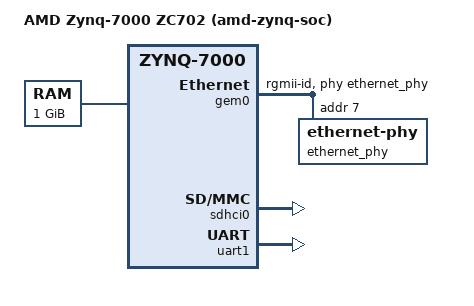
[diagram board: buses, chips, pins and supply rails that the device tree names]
// SPDX-License-Identifier: GPL-2.0+
/*
 * AMD Zynq-7000 ZC702 evaluation board
 *
 * Board description: UG850
 */

/dts-v1/;

#include "amd-xilinx-zynq.dtsi"

/ {
	model = "AMD Zynq-7000 ZC702 (amd-zynq-soc)";
	compatible = "amd,zynq-soc-zc702", "xlnx,zynq-zc702",
		     "amd,xilinx-zynq", "xlnx,zynq-7000";

	aliases {
		ethernet0 = &gem0;
		gpio0 = &gpio0;
		mmc0 = &sdhci0;
		serial0 = &uart1;
	};

	chosen {
		stdout-path = "serial0:115200n8";
	};

	memory@0 {
		device_type = "memory";
		reg = <0x0 0x40000000>;		/* 1 GiB DDR3 */
	};
};

&clkc {
	ps-clk-frequency = <33333333>;
};

/* Marvell 88E1116R, RGMII with internal delays */
&gem0 {
	phy-mode = "rgmii-id";
	phy-handle = <&ethernet_phy>;
	status = "okay";

	ethernet_phy: ethernet-phy@7 {
		reg = <7>;
	};
};

/* DS23 user LED on MIO 10, SW13/SW14 push buttons on MIO 12/14 */
&gpio0 {
	status = "okay";
};

/* SD card slot J64 */
&sdhci0 {
	no-1-8-v;
	status = "okay";
};

/* USB-UART bridge (CP2103) */
&uart1 {
	status = "okay";
	bootph-all;
};
